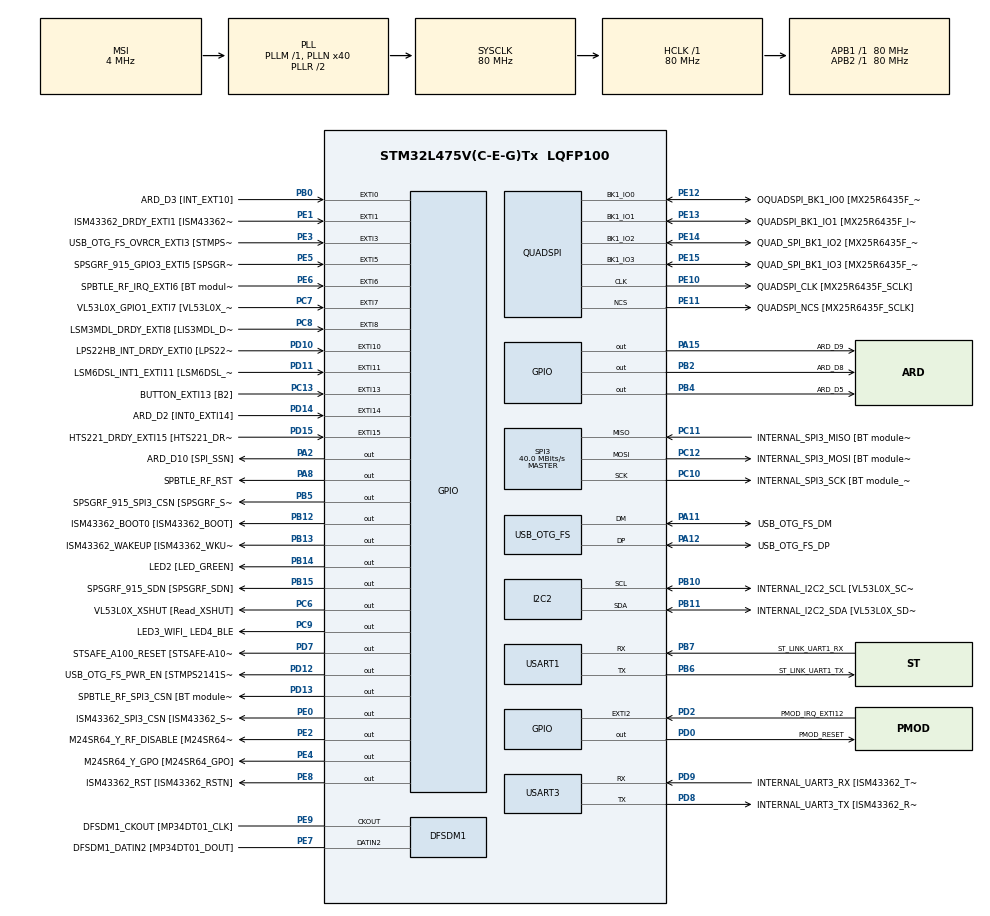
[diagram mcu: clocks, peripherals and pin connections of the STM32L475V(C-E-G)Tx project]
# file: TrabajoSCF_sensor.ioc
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FREERTOS.Queues01=print_queue,128,uintptr_t,0,Dynamic,NULL,NULL;receive_queue,3,char,0,Dynamic,NULL,NULL;receive_wifi_queue,31,char,0,Dynamic,NULL,NULL
FREERTOS.Tasks01=defaultTask,24,256,StartDefaultTask,Default,NULL,Dynamic,NULL,NULL;wifiStart,24,1024,wifiStartTask,Default,NULL,Dynamic,NULL,NULL;acel_task,24,256,acel_task_function,Default,NULL,Dynamic,NULL,NULL;print_task,24,128,print_task_func,Default,NULL,Dynamic,NULL,NULL;RTC_set,32,256,RTC_set_func,Default,NULL,Dynamic,NULL,NULL;wifi_set,24,128,wifi_set_func,Default,NULL,Dynamic,NULL,NULL
FREERTOS.configTOTAL_HEAP_SIZE=10000
Mcu.Family=STM32L4
Mcu.Name=STM32L475V(C-E-G)Tx
Mcu.Package=LQFP100
NVIC.EXTI15_10_IRQn=true\:5\:0\:false\:false\:true\:true\:true\:true\:true
NVIC.EXTI1_IRQn=true\:5\:0\:false\:false\:true\:false\:true\:true\:true
NVIC.EXTI9_5_IRQn=true\:5\:0\:false\:false\:true\:true\:true\:true\:true
NVIC.PriorityGroup=NVIC_PRIORITYGROUP_4
NVIC.SPI3_IRQn=true\:5\:0\:false\:false\:false\:false\:true\:true\:true
NVIC.USART1_IRQn=true\:5\:0\:false\:false\:true\:true\:true\:true\:true
PA0.GPIO_Label=ARD_D1 [UART4_TX]
PA0.Signal=UART4_TX
PA1.GPIO_Label=ARD_D0 [UART4_RX]
PA1.Signal=UART4_RX
PA10.GPIO_Label=USB_OTG_FS_ID
PA10.Signal=USB_OTG_FS_ID
PA11.GPIO_Label=USB_OTG_FS_DM
PA11.Mode=Device_Only
PA11.Signal=USB_OTG_FS_DM
PA12.GPIO_Label=USB_OTG_FS_DP
PA12.Mode=Device_Only
PA12.Signal=USB_OTG_FS_DP
PA13\ (JTMS-SWDIO).GPIO_Label=SYS_JTMS_SWDIO
PA13\ (JTMS-SWDIO).Mode=Trace_Asynchronous_SW
PA13\ (JTMS-SWDIO).Signal=SYS_JTMS-SWDIO
PA14\ (JTCK-SWCLK).GPIO_Label=SYS_JTCK_SWCLK
PA14\ (JTCK-SWCLK).Mode=Trace_Asynchronous_SW
PA14\ (JTCK-SWCLK).Signal=SYS_JTCK-SWCLK
PA15\ (JTDI).GPIO_Label=ARD_D9
PA15\ (JTDI).Signal=GPIO_Output
PA2.GPIO_Label=ARD_D10 [SPI_SSN]
PA2.Signal=GPIO_Output
PA3.GPIO_Label=ARD_D4
PA3.Signal=S_TIM2_CH4
PA4.GPIO_Label=ARD_D7
PA4.Signal=ADCx_IN9
PA5.GPIO_Label=ARD_D13 [SPI1_SCK]
PA5.Signal=SPI1_SCK
PA6.GPIO_Label=ARD_D12 [SPI1_MISO]
PA6.Signal=SPI1_MISO
PA7.GPIO_Label=ARD_D11 [SPI1_MOSI]
PA7.Signal=SPI1_MOSI
PA8.GPIO_Label=SPBTLE_RF_RST
PA8.Signal=GPIO_Output
PA9.GPIO_Label=USB_OTG_FS_VBUS [STMPS2141STR_OUT]
PA9.Signal=USB_OTG_FS_VBUS
PB0.GPIO_Label=ARD_D3 [INT_EXT10]
PB0.Signal=GPXTI0
PB1.GPIO_Label=ARD_D6 [ADC1_IN6]
PB1.Signal=ADCx_IN16
PB10.GPIO_Label=INTERNAL_I2C2_SCL [VL53L0X_SCL]
PB10.GPIO_Pu=GPIO_PULLUP
PB10.Mode=I2C
PB10.Signal=I2C2_SCL
PB11.GPIO_Label=INTERNAL_I2C2_SDA [VL53L0X_SDA]
PB11.GPIO_Pu=GPIO_PULLUP
PB11.Mode=I2C
PB11.Signal=I2C2_SDA
PB12.GPIO_Label=ISM43362_BOOT0 [ISM43362_BOOT]
PB12.Signal=GPIO_Output
PB13.GPIO_Label=ISM43362_WAKEUP [ISM43362_WKUP]
PB13.Signal=GPIO_Output
PB14.GPIO_Label=LED2 [LED_GREEN]
PB14.Signal=GPIO_Output
PB15.GPIO_Label=SPSGRF_915_SDN [SPSGRF_SDN]
PB15.Signal=GPIO_Output
PB2.GPIO_Label=ARD_D8
PB2.Signal=GPIO_Output
PB3\ (JTDO-TRACESWO).Mode=Trace_Asynchronous_SW
PB3\ (JTDO-TRACESWO).Signal=SYS_JTDO-SWO
PB4\ (NJTRST).GPIO_Label=ARD_D5
PB4\ (NJTRST).Signal=GPIO_Output
PB5.GPIO_Label=SPSGRF_915_SPI3_CSN [SPSGRF_SPI_CS]
PB5.PinState=GPIO_PIN_SET
PB5.Signal=GPIO_Output
PB6.GPIO_Label=ST_LINK_UART1_TX
PB6.Mode=Asynchronous
PB6.Signal=USART1_TX
PB7.GPIO_Label=ST_LINK_UART1_RX
PB7.Mode=Asynchronous
PB7.Signal=USART1_RX
PB8.GPIO_Label=ARD_D15 [I2C1_SCL]
PB8.Signal=I2C1_SCL
PB9.GPIO_Label=ARD_D14 [I2C1_SDA]
PB9.Signal=I2C1_SDA
PC0.GPIO_Label=ARD_A5 [ADC]
PC0.Signal=ADCx_IN1
PC1.GPIO_Label=ARD_A4 [ADC]
PC1.Signal=ADCx_IN2
PC10.GPIO_Label=INTERNAL_SPI3_SCK [BT module_SPI_SCLK] [ISM43362_SCK]
PC10.Mode=Full_Duplex_Master
PC10.Signal=SPI3_SCK
PC11.GPIO_Label=INTERNAL_SPI3_MISO [BT module_SPI_MISO] [ISM43362_MISO]
PC11.Mode=Full_Duplex_Master
PC11.Signal=SPI3_MISO
PC12.GPIO_Label=INTERNAL_SPI3_MOSI [BT module_SPI_MOSI] [ISM43362_MOSI]
PC12.Mode=Full_Duplex_Master
PC12.Signal=SPI3_MOSI
PC13.GPIO_Label=BUTTON_EXTI13 [B2]
PC13.GPIO_ModeDefaultEXTI=GPIO_MODE_IT_FALLING
PC13.Signal=GPXTI13
PC14-OSC32_IN\ (PC14).Mode=LSE-External-Oscillator
PC14-OSC32_IN\ (PC14).Signal=RCC_OSC32_IN
PC15-OSC32_OUT\ (PC15).Mode=LSE-External-Oscillator
PC15-OSC32_OUT\ (PC15).Signal=RCC_OSC32_OUT
PC2.GPIO_Label=ARD_A3 [ADC]
PC2.Signal=ADCx_IN3
PC3.GPIO_Label=ARD_A2 [ADC]
PC3.Signal=ADCx_IN4
PC4.GPIO_Label=ARD_A1 [ADC]
PC4.Signal=ADCx_IN13
PC5.GPIO_Label=ARD_A0 [ADC]
PC5.Signal=ADCx_IN14
PC6.GPIO_Label=VL53L0X_XSHUT [Read_XSHUT]
PC6.Signal=GPIO_Output
PC7.GPIO_Label=VL53L0X_GPIO1_EXTI7 [VL53L0X_GPIO1]
PC7.Signal=GPXTI7
PC8.GPIO_Label=LSM3MDL_DRDY_EXTI8 [LIS3MDL_DRDY]
PC8.Signal=GPXTI8
PC9.GPIO_Label=LED3_WIFI_ LED4_BLE
PC9.Signal=GPIO_Output
PD0.GPIO_Label=PMOD_RESET
PD0.Signal=GPIO_Output
PD1.GPIO_Label=PMOD_SPI2_SCK
PD1.Signal=SPI2_SCK
PD10.GPIO_Label=LPS22HB_INT_DRDY_EXTI0 [LPS22HB_INT_DRDY] 
PD10.Signal=GPXTI10
PD11.GPIO_Label=LSM6DSL_INT1_EXTI11 [LSM6DSL_INT1]
PD11.Signal=GPXTI11
PD12.GPIO_Label=USB_OTG_FS_PWR_EN [STMPS2141STR_EN]
PD12.Signal=GPIO_Output
PD13.GPIO_Label=SPBTLE_RF_SPI3_CSN [BT module_SPI_CS]
PD13.PinState=GPIO_PIN_SET
PD13.Signal=GPIO_Output
PD14.GPIO_Label=ARD_D2 [INT0_EXTI14]
PD14.Signal=GPXTI14
PD15.GPIO_Label=HTS221_DRDY_EXTI15 [HTS221_DRDY]
PD15.Signal=GPXTI15
PD2.GPIO_Label=PMOD_IRQ_EXTI12
PD2.Signal=GPXTI2
PD3.GPIO_Label=PMOD_UART2_CTS
PD3.Signal=USART2_CTS
PD4.GPIO_Label=PMOD_UART2_RTS
PD4.Signal=USART2_RTS
PD5.GPIO_Label=PMOD_UART2_TX
PD5.Signal=USART2_TX
PD6.GPIO_Label=PMOD_UART2_RX
PD6.Signal=USART2_RX
PD7.GPIO_Label=STSAFE_A100_RESET [STSAFE-A100_RESET]
PD7.Signal=GPIO_Output
PD8.GPIO_Label=INTERNAL_UART3_TX [ISM43362_RX]
PD8.Mode=Asynchronous
PD8.Signal=USART3_TX
PD9.GPIO_Label=INTERNAL_UART3_RX [ISM43362_TX]
PD9.Mode=Asynchronous
PD9.Signal=USART3_RX
PE0.GPIO_Label=ISM43362_SPI3_CSN [ISM43362_SSN]
PE0.PinState=GPIO_PIN_SET
PE0.Signal=GPIO_Output
PE1.GPIO_Label=ISM43362_DRDY_EXTI1 [ISM43362_DATARDY]
PE1.Signal=GPXTI1
PE10.GPIO_Label=QUADSPI_CLK [MX25R6435F_SCLK]
PE10.Mode=Single Bank
PE10.Signal=QUADSPI_CLK
PE11.GPIO_Label=QUADSPI_NCS [MX25R6435F_SCLK]
PE11.Mode=Single Bank
PE11.Signal=QUADSPI_NCS
PE12.GPIO_Label=OQUADSPI_BK1_IO0 [MX25R6435F_IO0]
PE12.Mode=Single Bank
PE12.Signal=QUADSPI_BK1_IO0
PE13.GPIO_Label=QUADSPI_BK1_IO1 [MX25R6435F_IO1]
PE13.Mode=Single Bank
PE13.Signal=QUADSPI_BK1_IO1
PE14.GPIO_Label=QUAD_SPI_BK1_IO2 [MX25R6435F_IO2]
PE14.Mode=Single Bank
PE14.Signal=QUADSPI_BK1_IO2
PE15.GPIO_Label=QUAD_SPI_BK1_IO3 [MX25R6435F_IO3]
PE15.Mode=Single Bank
PE15.Signal=QUADSPI_BK1_IO3
PE2.GPIO_Label=M24SR64_Y_RF_DISABLE [M24SR64_RFDIS]
PE2.Signal=GPIO_Output
PE3.GPIO_Label=USB_OTG_FS_OVRCR_EXTI3 [STMPS2141STR_FAULT]
PE3.Signal=GPXTI3
PE4.GPIO_Label=M24SR64_Y_GPO [M24SR64_GPO]
PE4.Signal=GPIO_Output
PE5.GPIO_Label=SPSGRF_915_GPIO3_EXTI5 [SPSGRF_GPIO_3]
PE5.Signal=GPXTI5
PE6.GPIO_Label=SPBTLE_RF_IRQ_EXTI6 [BT module_SPI_IRQ]
PE6.Signal=GPXTI6
PE7.GPIO_Label=DFSDM1_DATIN2 [MP34DT01_DOUT]
PE7.Signal=S_DATAIN2DFSDM1
PE8.GPIO_Label=ISM43362_RST [ISM43362_RSTN]
PE8.Signal=GPIO_Output
PE9.GPIO_Label=DFSDM1_CKOUT [MP34DT01_CLK]
PE9.Signal=S_CKOUTDFSDM1
ProjectManager.HeapSize=0x200
ProjectManager.StackSize=0x400
ProjectManager.TargetToolchain=STM32CubeIDE
QUADSPI.ClockPrescaler=2
QUADSPI.FifoThreshold=4
QUADSPI.FlashSize=23
QUADSPI.SampleShifting=QSPI_SAMPLE_SHIFTING_HALFCYCLE
RCC.ADCFreq_Value=48000000
RCC.AHBFreq_Value=80000000
RCC.APB1Freq_Value=80000000
RCC.APB1TimFreq_Value=80000000
RCC.APB2Freq_Value=80000000
RCC.APB2TimFreq_Value=80000000
RCC.CortexFreq_Value=80000000
RCC.HCLKFreq_Value=80000000
RCC.HSE_VALUE=8000000
RCC.HSI_VALUE=16000000
RCC.MSI_VALUE=4000000
RCC.PLLN=40
RCC.PLLSAI1N=24
RCC.SYSCLKFreq_VALUE=80000000
RCC.SYSCLKSource=RCC_SYSCLKSOURCE_PLLCLK
RCC.USBFreq_Value=48000000
RCC.VCOOutputFreq_Value=160000000
RTC.Date=3
RTC.Hours=12
RTC.Minutes=49
RTC.Seconds=50
RTC.WeekDay=RTC_WEEKDAY_WEDNESDAY
RTC.Year=24
SH.ADCx_IN1.0=ADC1_IN1
SH.ADCx_IN13.0=ADC1_IN13
SH.ADCx_IN14.0=ADC1_IN14
SH.ADCx_IN16.0=ADC1_IN16
SH.ADCx_IN2.0=ADC1_IN2
SH.ADCx_IN3.0=ADC1_IN3
SH.ADCx_IN4.0=ADC1_IN4
SH.ADCx_IN9.0=ADC1_IN9
SH.S_CKOUTDFSDM1.0=DFSDM1_CKOUT,CKOUT
SH.S_CKOUTDFSDM1.1=DFSDM1_CKOUT,PDM_SPI_Input_from_ch12_and_Internal_Clock
SH.S_DATAIN2DFSDM1.0=DFSDM1_DATIN2,PDM_SPI_Input_from_ch12_and_Internal_Clock
SH.S_TIM2_CH4.0=TIM2_CH4
SPI3.CalculateBaudRate=40.0 MBits/s
SPI3.Direction=SPI_DIRECTION_2LINES
SPI3.Mode=SPI_MODE_MASTER
SPI3.VirtualType=VM_MASTER
USART1.VirtualMode-Asynchronous=VM_ASYNC
USART3.VirtualMode-Asynchronous=VM_ASYNC
USB_OTG_FS.VirtualMode=Device_Only
VP_FREERTOS_VS_CMSIS_V2.Mode=CMSIS_V2
VP_RTC_VS_RTC_Activate.Mode=RTC_Enabled
VP_RTC_VS_RTC_Calendar.Mode=RTC_Calendar
board=B-L475E-IOT01A2

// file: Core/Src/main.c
/* USER CODE BEGIN Header */
/**
  ******************************************************************************
  * @file           : main.c
  * @brief          : Main program body
  ******************************************************************************
  * @attention
  *
  * Copyright (c) 2023 STMicroelectronics.
  * All rights reserved.
  *
  * This software is licensed under terms that can be found in the LICENSE file
  * in the root directory of this software component.
  * If no LICENSE file comes with this software, it is provided AS-IS.
  *
  ******************************************************************************
  */
/* USER CODE END Header */
#include "main.h"
#include "cmsis_os.h"

/* USER CODE BEGIN Includes */
#include "es_wifi.h"
#include "wifi.h"
#include "stm32l4xx_hal_uart.h"
#include <stdio.h>
#include <stdlib.h>
#include "stm32l4xx_hal_uart.h"
#include "stm32l475e_iot01.h"
#include "stm32l475e_iot01_tsensor.h"
#include "stm32l475e_iot01_hsensor.h"
#include <math.h>
#include <string.h>
#include "mqtt_priv.h"
#include "stm32l475e_iot01_accelero.h"
/* USER CODE END Includes */

/* USER CODE BEGIN PTD */

//#define SSID     "pabkramar" //"plutow" //"iPhone de Fernando"
//#define PASSWORD "12345678" //"abcdefgh" //"garruchin9"
char SSID [31];
char PASSWORD [31];
//#define WIFISECURITY WIFI_ECN_OPEN
#define WIFISECURITY WIFI_ECN_WPA2_PSK

#ifdef  TERMINAL_USE
#define LOG(a) printf a
#else
#define LOG(a)
#endif
/* USER CODE END PTD */

DFSDM_Channel_HandleTypeDef hdfsdm1_channel1;

I2C_HandleTypeDef hi2c2;

QSPI_HandleTypeDef hqspi;

RTC_HandleTypeDef hrtc;

SPI_HandleTypeDef hspi3;

UART_HandleTypeDef huart1;
UART_HandleTypeDef huart3;

PCD_HandleTypeDef hpcd_USB_OTG_FS;

/* Definitions for defaultTask */
osThreadId_t defaultTaskHandle;
const osThreadAttr_t defaultTask_attributes = {
  .name = "defaultTask",
  .stack_size = 256 * 4,
  .priority = (osPriority_t) osPriorityNormal,
};
/* Definitions for wifiStart */
osThreadId_t wifiStartHandle;
const osThreadAttr_t wifiStart_attributes = {
  .name = "wifiStart",
  .stack_size = 1024 * 4,
  .priority = (osPriority_t) osPriorityNormal,
};
/* Definitions for acel_task */
osThreadId_t acel_taskHandle;
const osThreadAttr_t acel_task_attributes = {
  .name = "acel_task",
  .stack_size = 256 * 4,
  .priority = (osPriority_t) osPriorityNormal,
};
/* Definitions for print_task */
osThreadId_t print_taskHandle;
const osThreadAttr_t print_task_attributes = {
  .name = "print_task",
  .stack_size = 128 * 4,
  .priority = (osPriority_t) osPriorityNormal,
};
/* Definitions for RTC_set */
osThreadId_t RTC_setHandle;
const osThreadAttr_t RTC_set_attributes = {
  .name = "RTC_set",
  .stack_size = 256 * 4,
  .priority = (osPriority_t) osPriorityAboveNormal,
};
/* Definitions for wifi_set */
osThreadId_t wifi_setHandle;
const osThreadAttr_t wifi_set_attributes = {
  .name = "wifi_set",
  .stack_size = 128 * 4,
  .priority = (osPriority_t) osPriorityNormal,
};
/* Definitions for print_queue */
osMessageQueueId_t print_queueHandle;
const osMessageQueueAttr_t print_queue_attributes = {
  .name = "print_queue"
};
/* Definitions for receive_queue */
osMessageQueueId_t receive_queueHandle;
const osMessageQueueAttr_t receive_queue_attributes = {
  .name = "receive_queue"
};
/* Definitions for receive_wifi_queue */
osMessageQueueId_t receive_wifi_queueHandle;
const osMessageQueueAttr_t receive_wifi_queue_attributes = {
  .name = "receive_wifi_queue"
};
/* USER CODE BEGIN PV */
extern  SPI_HandleTypeDef hspi;
static  uint8_t  IP_Addr[4];
#if defined (TERMINAL_USE)
extern UART_HandleTypeDef hDiscoUart;
#endif /* TERMINAL_USE */

static  uint8_t  IP_Addr[4];

int _write(int file, char *ptr, int len){
	int DataIdx;
	for(DataIdx=0; DataIdx<len; DataIdx++)
	{
	ITM_SendChar(*ptr++);
	}
	return len;
}

int16_t pDataAcc[3];
int16_t lista_acelx[10]; //Lista para guardar los valores de las aceleraciones para luego hacerles la media.
int16_t lista_acely[10];
int16_t lista_acelz[10];

int modo_operacion = 0;

ACCELERO_StatusTypeDef iniAcc;
char str_x[14] = "";				/* cadena para la aceleraciÃ³n en el eje X */
char str_y[14] = "";				/* cadena para la aceleraciÃ³n en el eje X */
char str_z[18] = "";				/* cadena para la aceleraciÃ³n en el eje X */

int16_t acel_x = 0;
int16_t acel_y = 0;
int16_t acel_z = 0;

uint8_t acel_flag=0;

char timestamp[36] = "";			/* cadena para el timestamp */

uint8_t msg1[] = "****** Acceleration values measurement ******\n\n\r";
uint8_t msg2[] = "=====> Initialize Acceleration sensor LSM6DSL \r\n";
uint8_t msg3[] = "=====> Acceleration sensor LSM6DSL initialized \r\n ";

uint16_t subsec = 0;		/* variable para los ms */
RTC_TimeTypeDef varTime; /* estructura para recibir la hora del RTC */
RTC_DateTypeDef varDate; /* estructura para recibir la fecha */

uint8_t drdyPulsedCfg = 0;
uint8_t ctrlDrdy = 0;
uint8_t ctrlMaster = 0;

RTC_DateTypeDef GetDate; //Estructura para fijar/leer fecha
RTC_TimeTypeDef GetTime; //Estructura para fijar/leer hora

/* USER CODE END PV */

void SystemClock_Config(void);
static void MX_GPIO_Init(void);
static void MX_DFSDM1_Init(void);
static void MX_I2C2_Init(void);
static void MX_QUADSPI_Init(void);
static void MX_SPI3_Init(void);
static void MX_USART1_UART_Init(void);
static void MX_USART3_UART_Init(void);
static void MX_USB_OTG_FS_PCD_Init(void);
static void MX_RTC_Init(void);
void StartDefaultTask(void *argument);
void wifiStartTask(void *argument);
void acel_task_function(void *argument);
void print_task_func(void *argument);
void RTC_set_func(void *argument);
void wifi_set_func(void *argument);

/* USER CODE BEGIN PFP */

static uint8_t IP_Addr[4];
void LSM6DSL_AccInt_Drdy(void);							/* FunciÃ³n para la activaciÃ³n de la interrupciÃ³n Data Ready */
void  HAL_GPIO_EXTI_Callback(uint16_t GPIO_Pin);

/* USER CODE END PFP */

/* USER CODE BEGIN 0 */
uint8_t rec_data;
uint8_t cont = 0;
uint8_t config_state = 0;

#if defined (TERMINAL_USE)
#ifdef __GNUC__
/* With GCC, small printf (option LD Linker->Libraries->Small printf
   set to 'Yes') calls __io_putchar() */
#define PUTCHAR_PROTOTYPE int __io_putchar(int ch)
#else
#define PUTCHAR_PROTOTYPE int fputc(int ch, FILE *f)
#endif /* __GNUC__ */
#endif /* TERMINAL_USE */

static  int wifi_start(void);
static  int wifi_connect(void);
int wifi_get_http(void);
/* USER CODE END 0 */

int main(void)
{

  /* MCU Configuration--------------------------------------------------------*/

  /* Reset of all peripherals, Initializes the Flash interface and the Systick. */
  HAL_Init();

  /* Configure the system clock */
  SystemClock_Config();

  /* Initialize all configured peripherals */
  MX_GPIO_Init();
  MX_DFSDM1_Init();
  MX_I2C2_Init();
  MX_QUADSPI_Init();
  MX_SPI3_Init();
  MX_USART1_UART_Init();
  MX_USART3_UART_Init();
  MX_USB_OTG_FS_PCD_Init();
  MX_RTC_Init();
  /* USER CODE BEGIN 2 */
  #if defined (TERMINAL_USE)
  /* Initialize all configured peripherals */
  hDiscoUart.Instance = DISCOVERY_COM1;
  hDiscoUart.Init.BaudRate = 115200;
  hDiscoUart.Init.WordLength = UART_WORDLENGTH_8B;
  hDiscoUart.Init.StopBits = UART_STOPBITS_1;
  hDiscoUart.Init.Parity = UART_PARITY_NONE;
  hDiscoUart.Init.Mode = UART_MODE_TX_RX;
  hDiscoUart.Init.HwFlowCtl = UART_HWCONTROL_NONE;
  hDiscoUart.Init.OverSampling = UART_OVERSAMPLING_16;
  hDiscoUart.Init.OneBitSampling = UART_ONE_BIT_SAMPLE_DISABLE;
  hDiscoUart.AdvancedInit.AdvFeatureInit = UART_ADVFEATURE_NO_INIT;

  BSP_COM_Init(COM1, &hDiscoUart);

  #endif /* TERMINAL_USE */
  BSP_TSENSOR_Init(); // Inicializamos temperatura
  BSP_HSENSOR_Init(); // Inicializamos humedad
  printf("****** Sistemas Ciberfisicos ****** \n\r");

  HAL_UART_Transmit(&huart1,msg1,sizeof(msg1),1000); 			/* TransmisiÃ³n de mensajes por UART */
  HAL_UART_Transmit(&huart1,msg2,sizeof(msg2),1000);
  HAL_UART_Transmit(&huart1,msg3,sizeof(msg3),1000);

  iniAcc = BSP_ACCELERO_Init();									/* InicializaciÃ³n del acelerÃ³metro */
  LSM6DSL_AccInt_Drdy();											/* ConfiguraciÃ³n del acelerÃ³metro*/
  BSP_ACCELERO_LowPower(0);										/* Deshabilitado del modo de bajo consumo*/

  /* USER CODE END 2 */

  /* Init scheduler */
  osKernelInitialize();

  /* Create the queue(s) */
  /* creation of print_queue */
  print_queueHandle = osMessageQueueNew (128, sizeof(uintptr_t), &print_queue_attributes);

  /* creation of receive_queue */
  receive_queueHandle = osMessageQueueNew (3, sizeof(char), &receive_queue_attributes);

  /* creation of receive_wifi_queue */
  receive_wifi_queueHandle = osMessageQueueNew (31, sizeof(char), &receive_wifi_queue_attributes);

  /* Create the thread(s) */
  /* creation of defaultTask */
  defaultTaskHandle = osThreadNew(StartDefaultTask, NULL, &defaultTask_attributes);

  /* creation of wifiStart */
  wifiStartHandle = osThreadNew(wifiStartTask, NULL, &wifiStart_attributes);

  /* creation of acel_task */
  acel_taskHandle = osThreadNew(acel_task_function, NULL, &acel_task_attributes);

  /* creation of print_task */
  print_taskHandle = osThreadNew(print_task_func, NULL, &print_task_attributes);

  /* creation of RTC_set */
  RTC_setHandle = osThreadNew(RTC_set_func, NULL, &RTC_set_attributes);

  /* creation of wifi_set */
  wifi_setHandle = osThreadNew(wifi_set_func, NULL, &wifi_set_attributes);

  /* Start scheduler */
  osKernelStart();

  /* We should never get here as control is now taken by the scheduler */
  /* Infinite loop */
  while (1)
  {

  }
}

void SystemClock_Config(void)
{
  RCC_OscInitTypeDef RCC_OscInitStruct = {0};
  RCC_ClkInitTypeDef RCC_ClkInitStruct = {0};

  /** Configure the main internal regulator output voltage
  */
  if (HAL_PWREx_ControlVoltageScaling(PWR_REGULATOR_VOLTAGE_SCALE1) != HAL_OK)
  {
    Error_Handler();
  }

  /** Configure LSE Drive Capability
  */
  HAL_PWR_EnableBkUpAccess();
  __HAL_RCC_LSEDRIVE_CONFIG(RCC_LSEDRIVE_LOW);

  /** Initializes the RCC Oscillators according to the specified parameters
  * in the RCC_OscInitTypeDef structure.
  */
  RCC_OscInitStruct.OscillatorType = RCC_OSCILLATORTYPE_LSI|RCC_OSCILLATORTYPE_LSE
                              |RCC_OSCILLATORTYPE_MSI;
  RCC_OscInitStruct.LSEState = RCC_LSE_ON;
  RCC_OscInitStruct.LSIState = RCC_LSI_ON;
  RCC_OscInitStruct.MSIState = RCC_MSI_ON;
  RCC_OscInitStruct.MSICalibrationValue = 0;
  RCC_OscInitStruct.MSIClockRange = RCC_MSIRANGE_6;
  RCC_OscInitStruct.PLL.PLLState = RCC_PLL_ON;
  RCC_OscInitStruct.PLL.PLLSource = RCC_PLLSOURCE_MSI;
  RCC_OscInitStruct.PLL.PLLM = 1;
  RCC_OscInitStruct.PLL.PLLN = 40;
  RCC_OscInitStruct.PLL.PLLP = RCC_PLLP_DIV7;
  RCC_OscInitStruct.PLL.PLLQ = RCC_PLLQ_DIV2;
  RCC_OscInitStruct.PLL.PLLR = RCC_PLLR_DIV2;
  if (HAL_RCC_OscConfig(&RCC_OscInitStruct) != HAL_OK)
  {
    Error_Handler();
  }

  /** Initializes the CPU, AHB and APB buses clocks
  */
  RCC_ClkInitStruct.ClockType = RCC_CLOCKTYPE_HCLK|RCC_CLOCKTYPE_SYSCLK
                              |RCC_CLOCKTYPE_PCLK1|RCC_CLOCKTYPE_PCLK2;
  RCC_ClkInitStruct.SYSCLKSource = RCC_SYSCLKSOURCE_PLLCLK;
  RCC_ClkInitStruct.AHBCLKDivider = RCC_SYSCLK_DIV1;
  RCC_ClkInitStruct.APB1CLKDivider = RCC_HCLK_DIV1;
  RCC_ClkInitStruct.APB2CLKDivider = RCC_HCLK_DIV1;

  if (HAL_RCC_ClockConfig(&RCC_ClkInitStruct, FLASH_LATENCY_4) != HAL_OK)
  {
    Error_Handler();
  }

  /** Enable MSI Auto calibration
  */
  HAL_RCCEx_EnableMSIPLLMode();
}

static void MX_DFSDM1_Init(void)
{

  hdfsdm1_channel1.Instance = DFSDM1_Channel1;
  hdfsdm1_channel1.Init.OutputClock.Activation = ENABLE;
  hdfsdm1_channel1.Init.OutputClock.Selection = DFSDM_CHANNEL_OUTPUT_CLOCK_SYSTEM;
  hdfsdm1_channel1.Init.OutputClock.Divider = 2;
  hdfsdm1_channel1.Init.Input.Multiplexer = DFSDM_CHANNEL_EXTERNAL_INPUTS;
  hdfsdm1_channel1.Init.Input.DataPacking = DFSDM_CHANNEL_STANDARD_MODE;
  hdfsdm1_channel1.Init.Input.Pins = DFSDM_CHANNEL_FOLLOWING_CHANNEL_PINS;
  hdfsdm1_channel1.Init.SerialInterface.Type = DFSDM_CHANNEL_SPI_RISING;
  hdfsdm1_channel1.Init.SerialInterface.SpiClock = DFSDM_CHANNEL_SPI_CLOCK_INTERNAL;
  hdfsdm1_channel1.Init.Awd.FilterOrder = DFSDM_CHANNEL_FASTSINC_ORDER;
  hdfsdm1_channel1.Init.Awd.Oversampling = 1;
  hdfsdm1_channel1.Init.Offset = 0;
  hdfsdm1_channel1.Init.RightBitShift = 0x00;
  if (HAL_DFSDM_ChannelInit(&hdfsdm1_channel1) != HAL_OK)
  {
    Error_Handler();
  }

}

static void MX_I2C2_Init(void)
{

  hi2c2.Instance = I2C2;
  hi2c2.Init.Timing = 0x00000E14;
  hi2c2.Init.OwnAddress1 = 0;
  hi2c2.Init.AddressingMode = I2C_ADDRESSINGMODE_7BIT;
  hi2c2.Init.DualAddressMode = I2C_DUALADDRESS_DISABLE;
  hi2c2.Init.OwnAddress2 = 0;
  hi2c2.Init.OwnAddress2Masks = I2C_OA2_NOMASK;
  hi2c2.Init.GeneralCallMode = I2C_GENERALCALL_DISABLE;
  hi2c2.Init.NoStretchMode = I2C_NOSTRETCH_DISABLE;
  if (HAL_I2C_Init(&hi2c2) != HAL_OK)
  {
    Error_Handler();
  }

  /** Configure Analogue filter
  */
  if (HAL_I2CEx_ConfigAnalogFilter(&hi2c2, I2C_ANALOGFILTER_ENABLE) != HAL_OK)
  {
    Error_Handler();
  }

  /** Configure Digital filter
  */
  if (HAL_I2CEx_ConfigDigitalFilter(&hi2c2, 0) != HAL_OK)
  {
    Error_Handler();
  }

}

static void MX_QUADSPI_Init(void)
{

  /* QUADSPI parameter configuration*/
  hqspi.Instance = QUADSPI;
  hqspi.Init.ClockPrescaler = 2;
  hqspi.Init.FifoThreshold = 4;
  hqspi.Init.SampleShifting = QSPI_SAMPLE_SHIFTING_HALFCYCLE;
  hqspi.Init.FlashSize = 23;
  hqspi.Init.ChipSelectHighTime = QSPI_CS_HIGH_TIME_1_CYCLE;
  hqspi.Init.ClockMode = QSPI_CLOCK_MODE_0;
  if (HAL_QSPI_Init(&hqspi) != HAL_OK)
  {
    Error_Handler();
  }

}

static void MX_RTC_Init(void)
{

  RTC_TimeTypeDef sTime = {0};
  RTC_DateTypeDef sDate = {0};

  /** Initialize RTC Only
  */
  hrtc.Instance = RTC;
  hrtc.Init.HourFormat = RTC_HOURFORMAT_24;
  hrtc.Init.AsynchPrediv = 127;
  hrtc.Init.SynchPrediv = 255;
  hrtc.Init.OutPut = RTC_OUTPUT_DISABLE;
  hrtc.Init.OutPutRemap = RTC_OUTPUT_REMAP_NONE;
  hrtc.Init.OutPutPolarity = RTC_OUTPUT_POLARITY_HIGH;
  hrtc.Init.OutPutType = RTC_OUTPUT_TYPE_OPENDRAIN;
  if (HAL_RTC_Init(&hrtc) != HAL_OK)
  {
    Error_Handler();
  }

  /** Initialize RTC and set the Time and Date
  */
  sTime.Hours = 0x12;
  sTime.Minutes = 0x49;
  sTime.Seconds = 0x50;
  sTime.DayLightSaving = RTC_DAYLIGHTSAVING_NONE;
  sTime.StoreOperation = RTC_STOREOPERATION_RESET;
  if (HAL_RTC_SetTime(&hrtc, &sTime, RTC_FORMAT_BCD) != HAL_OK)
  {
    Error_Handler();
  }
  sDate.WeekDay = RTC_WEEKDAY_WEDNESDAY;
  sDate.Month = RTC_MONTH_JANUARY;
  sDate.Date = 0x3;
  sDate.Year = 0x24;

  if (HAL_RTC_SetDate(&hrtc, &sDate, RTC_FORMAT_BCD) != HAL_OK)
  {
    Error_Handler();
  }

}

static void MX_SPI3_Init(void)
{

  /* SPI3 parameter configuration*/
  hspi3.Instance = SPI3;
  hspi3.Init.Mode = SPI_MODE_MASTER;
  hspi3.Init.Direction = SPI_DIRECTION_2LINES;
  hspi3.Init.DataSize = SPI_DATASIZE_4BIT;
  hspi3.Init.CLKPolarity = SPI_POLARITY_LOW;
  hspi3.Init.CLKPhase = SPI_PHASE_1EDGE;
  hspi3.Init.NSS = SPI_NSS_SOFT;
  hspi3.Init.BaudRatePrescaler = SPI_BAUDRATEPRESCALER_2;
  hspi3.Init.FirstBit = SPI_FIRSTBIT_MSB;
  hspi3.Init.TIMode = SPI_TIMODE_DISABLE;
  hspi3.Init.CRCCalculation = SPI_CRCCALCULATION_DISABLE;
  hspi3.Init.CRCPolynomial = 7;
  hspi3.Init.CRCLength = SPI_CRC_LENGTH_DATASIZE;
  hspi3.Init.NSSPMode = SPI_NSS_PULSE_ENABLE;
  if (HAL_SPI_Init(&hspi3) != HAL_OK)
  {
    Error_Handler();
  }

}

static void MX_USART1_UART_Init(void)
{

  huart1.Instance = USART1;
  huart1.Init.BaudRate = 115200;
  huart1.Init.WordLength = UART_WORDLENGTH_8B;
  huart1.Init.StopBits = UART_STOPBITS_1;
  huart1.Init.Parity = UART_PARITY_NONE;
  huart1.Init.Mode = UART_MODE_TX_RX;
  huart1.Init.HwFlowCtl = UART_HWCONTROL_NONE;
  huart1.Init.OverSampling = UART_OVERSAMPLING_16;
  huart1.Init.OneBitSampling = UART_ONE_BIT_SAMPLE_DISABLE;
  huart1.AdvancedInit.AdvFeatureInit = UART_ADVFEATURE_NO_INIT;
  if (HAL_UART_Init(&huart1) != HAL_OK)
  {
    Error_Handler();
  }

}

static void MX_USART3_UART_Init(void)
{

  huart3.Instance = USART3;
  huart3.Init.BaudRate = 115200;
  huart3.Init.WordLength = UART_WORDLENGTH_8B;
  huart3.Init.StopBits = UART_STOPBITS_1;
  huart3.Init.Parity = UART_PARITY_NONE;
  huart3.Init.Mode = UART_MODE_TX_RX;
  huart3.Init.HwFlowCtl = UART_HWCONTROL_NONE;
  huart3.Init.OverSampling = UART_OVERSAMPLING_16;
  huart3.Init.OneBitSampling = UART_ONE_BIT_SAMPLE_DISABLE;
  huart3.AdvancedInit.AdvFeatureInit = UART_ADVFEATURE_NO_INIT;
  if (HAL_UART_Init(&huart3) != HAL_OK)
  {
    Error_Handler();
  }

}

static void MX_USB_OTG_FS_PCD_Init(void)
{

  hpcd_USB_OTG_FS.Instance = USB_OTG_FS;
  hpcd_USB_OTG_FS.Init.dev_endpoints = 6;
  hpcd_USB_OTG_FS.Init.speed = PCD_SPEED_FULL;
  hpcd_USB_OTG_FS.Init.phy_itface = PCD_PHY_EMBEDDED;
  hpcd_USB_OTG_FS.Init.Sof_enable = DISABLE;
  hpcd_USB_OTG_FS.Init.low_power_enable = DISABLE;
  hpcd_USB_OTG_FS.Init.lpm_enable = DISABLE;
  hpcd_USB_OTG_FS.Init.battery_charging_enable = DISABLE;
  hpcd_USB_OTG_FS.Init.use_dedicated_ep1 = DISABLE;
  hpcd_USB_OTG_FS.Init.vbus_sensing_enable = DISABLE;
  if (HAL_PCD_Init(&hpcd_USB_OTG_FS) != HAL_OK)
  {
    Error_Handler();
  }

}

static void MX_GPIO_Init(void)
{
  GPIO_InitTypeDef GPIO_InitStruct = {0};

  /* GPIO Ports Clock Enable */
  __HAL_RCC_GPIOE_CLK_ENABLE();
  __HAL_RCC_GPIOC_CLK_ENABLE();
  __HAL_RCC_GPIOA_CLK_ENABLE();
  __HAL_RCC_GPIOB_CLK_ENABLE();
  __HAL_RCC_GPIOD_CLK_ENABLE();

  /*Configure GPIO pin Output Level */
  HAL_GPIO_WritePin(GPIOE, M24SR64_Y_RF_DISABLE_Pin|M24SR64_Y_GPO_Pin|ISM43362_RST_Pin, GPIO_PIN_RESET);

  /*Configure GPIO pin Output Level */
  HAL_GPIO_WritePin(GPIOA, ARD_D10_Pin|SPBTLE_RF_RST_Pin|ARD_D9_Pin, GPIO_PIN_RESET);

  /*Configure GPIO pin Output Level */
  HAL_GPIO_WritePin(GPIOB, ARD_D8_Pin|ISM43362_BOOT0_Pin|ISM43362_WAKEUP_Pin|LED2_Pin
                          |SPSGRF_915_SDN_Pin|ARD_D5_Pin, GPIO_PIN_RESET);

  /*Configure GPIO pin Output Level */
  HAL_GPIO_WritePin(GPIOD, USB_OTG_FS_PWR_EN_Pin|PMOD_RESET_Pin|STSAFE_A100_RESET_Pin, GPIO_PIN_RESET);

  /*Configure GPIO pin Output Level */
  HAL_GPIO_WritePin(SPBTLE_RF_SPI3_CSN_GPIO_Port, SPBTLE_RF_SPI3_CSN_Pin, GPIO_PIN_SET);

  /*Configure GPIO pin Output Level */
  HAL_GPIO_WritePin(GPIOC, VL53L0X_XSHUT_Pin|LED3_WIFI__LED4_BLE_Pin, GPIO_PIN_RESET);

  /*Configure GPIO pin Output Level */
  HAL_GPIO_WritePin(SPSGRF_915_SPI3_CSN_GPIO_Port, SPSGRF_915_SPI3_CSN_Pin, GPIO_PIN_SET);

  /*Configure GPIO pin Output Level */
  HAL_GPIO_WritePin(ISM43362_SPI3_CSN_GPIO_Port, ISM43362_SPI3_CSN_Pin, GPIO_PIN_SET);

  /*Configure GPIO pins : M24SR64_Y_RF_DISABLE_Pin M24SR64_Y_GPO_Pin ISM43362_RST_Pin ISM43362_SPI3_CSN_Pin */
  GPIO_InitStruct.Pin = M24SR64_Y_RF_DISABLE_Pin|M24SR64_Y_GPO_Pin|ISM43362_RST_Pin|ISM43362_SPI3_CSN_Pin;
  GPIO_InitStruct.Mode = GPIO_MODE_OUTPUT_PP;
  GPIO_InitStruct.Pull = GPIO_NOPULL;
  GPIO_InitStruct.Speed = GPIO_SPEED_FREQ_LOW;
  HAL_GPIO_Init(GPIOE, &GPIO_InitStruct);

  /*Configure GPIO pins : USB_OTG_FS_OVRCR_EXTI3_Pin SPSGRF_915_GPIO3_EXTI5_Pin SPBTLE_RF_IRQ_EXTI6_Pin ISM43362_DRDY_EXTI1_Pin */
  GPIO_InitStruct.Pin = USB_OTG_FS_OVRCR_EXTI3_Pin|SPSGRF_915_GPIO3_EXTI5_Pin|SPBTLE_RF_IRQ_EXTI6_Pin|ISM43362_DRDY_EXTI1_Pin;
  GPIO_InitStruct.Mode = GPIO_MODE_IT_RISING;
  GPIO_InitStruct.Pull = GPIO_NOPULL;
  HAL_GPIO_Init(GPIOE, &GPIO_InitStruct);

  /*Configure GPIO pin : BUTTON_EXTI13_Pin */
  GPIO_InitStruct.Pin = BUTTON_EXTI13_Pin;
  GPIO_InitStruct.Mode = GPIO_MODE_IT_FALLING;
  GPIO_InitStruct.Pull = GPIO_NOPULL;
  HAL_GPIO_Init(BUTTON_EXTI13_GPIO_Port, &GPIO_InitStruct);

  /*Configure GPIO pins : ARD_A5_Pin ARD_A4_Pin ARD_A3_Pin ARD_A2_Pin
                           ARD_A1_Pin ARD_A0_Pin */
  GPIO_InitStruct.Pin = ARD_A5_Pin|ARD_A4_Pin|ARD_A3_Pin|ARD_A2_Pin
                          |ARD_A1_Pin|ARD_A0_Pin;
  GPIO_InitStruct.Mode = GPIO_MODE_ANALOG_ADC_CONTROL;
  GPIO_InitStruct.Pull = GPIO_NOPULL;
  HAL_GPIO_Init(GPIOC, &GPIO_InitStruct);

  /*Configure GPIO pins : ARD_D1_Pin ARD_D0_Pin */
  GPIO_InitStruct.Pin = ARD_D1_Pin|ARD_D0_Pin;
  GPIO_InitStruct.Mode = GPIO_MODE_AF_PP;
  GPIO_InitStruct.Pull = GPIO_NOPULL;
  GPIO_InitStruct.Speed = GPIO_SPEED_FREQ_VERY_HIGH;
  GPIO_InitStruct.Alternate = GPIO_AF8_UART4;
  HAL_GPIO_Init(GPIOA, &GPIO_InitStruct);

  /*Configure GPIO pins : ARD_D10_Pin SPBTLE_RF_RST_Pin ARD_D9_Pin */
  GPIO_InitStruct.Pin = ARD_D10_Pin|SPBTLE_RF_RST_Pin|ARD_D9_Pin;
  GPIO_InitStruct.Mode = GPIO_MODE_OUTPUT_PP;
  GPIO_InitStruct.Pull = GPIO_NOPULL;
  GPIO_InitStruct.Speed = GPIO_SPEED_FREQ_LOW;
  HAL_GPIO_Init(GPIOA, &GPIO_InitStruct);

  /*Configure GPIO pin : ARD_D4_Pin */
  GPIO_InitStruct.Pin = ARD_D4_Pin;
  GPIO_InitStruct.Mode = GPIO_MODE_AF_PP;
  GPIO_InitStruct.Pull = GPIO_NOPULL;
  GPIO_InitStruct.Speed = GPIO_SPEED_FREQ_LOW;
  GPIO_InitStruct.Alternate = GPIO_AF1_TIM2;
  HAL_GPIO_Init(ARD_D4_GPIO_Port, &GPIO_InitStruct);

  /*Configure GPIO pin : ARD_D7_Pin */
  GPIO_InitStruct.Pin = ARD_D7_Pin;
  GPIO_InitStruct.Mode = GPIO_MODE_ANALOG_ADC_CONTROL;
  GPIO_InitStruct.Pull = GPIO_NOPULL;
  HAL_GPIO_Init(ARD_D7_GPIO_Port, &GPIO_InitStruct);

  /*Configure GPIO pins : ARD_D13_Pin ARD_D12_Pin ARD_D11_Pin */
  GPIO_InitStruct.Pin = ARD_D13_Pin|ARD_D12_Pin|ARD_D11_Pin;
  GPIO_InitStruct.Mode = GPIO_MODE_AF_PP;
  GPIO_InitStruct.Pull = GPIO_NOPULL;
  GPIO_InitStruct.Speed = GPIO_SPEED_FREQ_VERY_HIGH;
  GPIO_InitStruct.Alternate = GPIO_AF5_SPI1;
  HAL_GPIO_Init(GPIOA, &GPIO_InitStruct);

  /*Configure GPIO pin : ARD_D3_Pin */
  GPIO_InitStruct.Pin = ARD_D3_Pin;
  GPIO_InitStruct.Mode = GPIO_MODE_IT_RISING;
  GPIO_InitStruct.Pull = GPIO_NOPULL;
  HAL_GPIO_Init(ARD_D3_GPIO_Port, &GPIO_InitStruct);

  /*Configure GPIO pin : ARD_D6_Pin */
  GPIO_InitStruct.Pin = ARD_D6_Pin;
  GPIO_InitStruct.Mode = GPIO_MODE_ANALOG_ADC_CONTROL;
  GPIO_InitStruct.Pull = GPIO_NOPULL;
  HAL_GPIO_Init(ARD_D6_GPIO_Port, &GPIO_InitStruct);

  /*Configure GPIO pins : ARD_D8_Pin ISM43362_BOOT0_Pin ISM43362_WAKEUP_Pin LED2_Pin
                           SPSGRF_915_SDN_Pin ARD_D5_Pin SPSGRF_915_SPI3_CSN_Pin */
  GPIO_InitStruct.Pin = ARD_D8_Pin|ISM43362_BOOT0_Pin|ISM43362_WAKEUP_Pin|LED2_Pin
                          |SPSGRF_915_SDN_Pin|ARD_D5_Pin|SPSGRF_915_SPI3_CSN_Pin;
  GPIO_InitStruct.Mode = GPIO_MODE_OUTPUT_PP;
  GPIO_InitStruct.Pull = GPIO_NOPULL;
  GPIO_InitStruct.Speed = GPIO_SPEED_FREQ_LOW;
  HAL_GPIO_Init(GPIOB, &GPIO_InitStruct);

  /*Configure GPIO pins : LPS22HB_INT_DRDY_EXTI0_Pin LSM6DSL_INT1_EXTI11_Pin ARD_D2_Pin HTS221_DRDY_EXTI15_Pin
                           PMOD_IRQ_EXTI12_Pin */
  GPIO_InitStruct.Pin = LPS22HB_INT_DRDY_EXTI0_Pin|LSM6DSL_INT1_EXTI11_Pin|ARD_D2_Pin|HTS221_DRDY_EXTI15_Pin
                          |PMOD_IRQ_EXTI12_Pin;
  GPIO_InitStruct.Mode = GPIO_MODE_IT_RISING;
  GPIO_InitStruct.Pull = GPIO_NOPULL;
  HAL_GPIO_Init(GPIOD, &GPIO_InitStruct);

  /*Configure GPIO pins : USB_OTG_FS_PWR_EN_Pin SPBTLE_RF_SPI3_CSN_Pin PMOD_RESET_Pin STSAFE_A100_RESET_Pin */
  GPIO_InitStruct.Pin = USB_OTG_FS_PWR_EN_Pin|SPBTLE_RF_SPI3_CSN_Pin|PMOD_RESET_Pin|STSAFE_A100_RESET_Pin;
  GPIO_InitStruct.Mode = GPIO_MODE_OUTPUT_PP;
  GPIO_InitStruct.Pull = GPIO_NOPULL;
  GPIO_InitStruct.Speed = GPIO_SPEED_FREQ_LOW;
  HAL_GPIO_Init(GPIOD, &GPIO_InitStruct);

  /*Configure GPIO pins : VL53L0X_XSHUT_Pin LED3_WIFI__LED4_BLE_Pin */
  GPIO_InitStruct.Pin = VL53L0X_XSHUT_Pin|LED3_WIFI__LED4_BLE_Pin;
  GPIO_InitStruct.Mode = GPIO_MODE_OUTPUT_PP;
  GPIO_InitStruct.Pull = GPIO_NOPULL;
  GPIO_InitStruct.Speed = GPIO_SPEED_FREQ_LOW;
  HAL_GPIO_Init(GPIOC, &GPIO_InitStruct);

  /*Configure GPIO pins : VL53L0X_GPIO1_EXTI7_Pin LSM3MDL_DRDY_EXTI8_Pin */
  GPIO_InitStruct.Pin = VL53L0X_GPIO1_EXTI7_Pin|LSM3MDL_DRDY_EXTI8_Pin;
  GPIO_InitStruct.Mode = GPIO_MODE_IT_RISING;
  GPIO_InitStruct.Pull = GPIO_NOPULL;
  HAL_GPIO_Init(GPIOC, &GPIO_InitStruct);

  /*Configure GPIO pin : PMOD_SPI2_SCK_Pin */
  GPIO_InitStruct.Pin = PMOD_SPI2_SCK_Pin;
  GPIO_InitStruct.Mode = GPIO_MODE_AF_PP;
  GPIO_InitStruct.Pull = GPIO_NOPULL;
  GPIO_InitStruct.Speed = GPIO_SPEED_FREQ_VERY_HIGH;
  GPIO_InitStruct.Alternate = GPIO_AF5_SPI2;
  HAL_GPIO_Init(PMOD_SPI2_SCK_GPIO_Port, &GPIO_InitStruct);

  /*Configure GPIO pins : PMOD_UART2_CTS_Pin PMOD_UART2_RTS_Pin PMOD_UART2_TX_Pin PMOD_UART2_RX_Pin */
  GPIO_InitStruct.Pin = PMOD_UART2_CTS_Pin|PMOD_UART2_RTS_Pin|PMOD_UART2_TX_Pin|PMOD_UART2_RX_Pin;
  GPIO_InitStruct.Mode = GPIO_MODE_AF_PP;
  GPIO_InitStruct.Pull = GPIO_NOPULL;
  GPIO_InitStruct.Speed = GPIO_SPEED_FREQ_VERY_HIGH;
  GPIO_InitStruct.Alternate = GPIO_AF7_USART2;
  HAL_GPIO_Init(GPIOD, &GPIO_InitStruct);

  /*Configure GPIO pins : ARD_D15_Pin ARD_D14_Pin */
  GPIO_InitStruct.Pin = ARD_D15_Pin|ARD_D14_Pin;
  GPIO_InitStruct.Mode = GPIO_MODE_AF_OD;
  GPIO_InitStruct.Pull = GPIO_NOPULL;
  GPIO_InitStruct.Speed = GPIO_SPEED_FREQ_VERY_HIGH;
  GPIO_InitStruct.Alternate = GPIO_AF4_I2C1;
  HAL_GPIO_Init(GPIOB, &GPIO_InitStruct);

  /* EXTI interrupt init*/
  HAL_NVIC_SetPriority(EXTI1_IRQn, 5, 0);
  HAL_NVIC_EnableIRQ(EXTI1_IRQn);

  HAL_NVIC_SetPriority(EXTI9_5_IRQn, 5, 0);
  HAL_NVIC_EnableIRQ(EXTI9_5_IRQn);

  HAL_NVIC_SetPriority(EXTI15_10_IRQn, 5, 0);
  HAL_NVIC_EnableIRQ(EXTI15_10_IRQn);

}

/* USER CODE BEGIN 4 */
void LSM6DSL_AccInt_Drdy()						/* InicializaciÃ³n del acelerÃ³metro */
	{

		uint8_t ctrl = 0x00;
		uint8_t tmp;
		/* Read DRDY_PULSE_CFG_G value  (LSM6DSL_ACC_GYRO_I2C_ADDRESS_LOW, LSM6DSL_ACC_GYRO_CTRL1_XL);*/
		drdyPulsedCfg = SENSOR_IO_Read(LSM6DSL_ACC_GYRO_I2C_ADDRESS_LOW, LSM6DSL_ACC_GYRO_DRDY_PULSE_CFG_G);     /*Buscar en archivo lsm6dsl.h*/

		/* Set Drdy interruption to INT1  */
		drdyPulsedCfg |= 0b10000000;

		/* write back control register */
		SENSOR_IO_Write(LSM6DSL_ACC_GYRO_I2C_ADDRESS_LOW, LSM6DSL_ACC_GYRO_DRDY_PULSE_CFG_G, drdyPulsedCfg);

		/* Read INT1_CTRL value */
		ctrlDrdy = SENSOR_IO_Read(LSM6DSL_ACC_GYRO_I2C_ADDRESS_LOW, LSM6DSL_ACC_GYRO_INT1_CTRL);

		/* Set Drdy interruption to INT1  */
	    ctrlDrdy |= 0b00000011;

		/* write back control register */
		SENSOR_IO_Write(LSM6DSL_ACC_GYRO_I2C_ADDRESS_LOW, LSM6DSL_ACC_GYRO_INT1_CTRL, ctrlDrdy);

		/* Read MASTER_CONFIG value */
		ctrlMaster = SENSOR_IO_Read(LSM6DSL_ACC_GYRO_I2C_ADDRESS_LOW, LSM6DSL_ACC_GYRO_MASTER_CONFIG);

		ctrlMaster |= 0b00000011;

		/* write back control register */
		SENSOR_IO_Write(LSM6DSL_ACC_GYRO_I2C_ADDRESS_LOW, LSM6DSL_ACC_GYRO_MASTER_CONFIG, ctrlMaster);
	}

static int wifi_start(void)
{
  printf("Wifi Start Function. \n\r");
  uint8_t  MAC_Addr[6];

 /*Initialize and use WIFI module */
  if(WIFI_Init() ==  WIFI_STATUS_OK)
  {
    printf("ES-WIFI Initialized.\n\r");
    if(WIFI_GetMAC_Address(MAC_Addr) == WIFI_STATUS_OK)
    {
      printf("> eS-WiFi module MAC Address : %02X:%02X:%02X:%02X:%02X:%02X\n\r",
               MAC_Addr[0],
               MAC_Addr[1],
               MAC_Addr[2],
               MAC_Addr[3],
               MAC_Addr[4],
               MAC_Addr[5]);
    }
    else
    {
      printf("> ERROR : CANNOT get MAC address.\n\r");
      return -1;
    }
  }
  else
  {
    return -1;
  }
  return 0;
}

int wifi_connect(void)
{
    uint8_t MAX_tries = 3;
    uint8_t return_value=-1;
    uint8_t try=1;
	while (try<=MAX_tries || return_value!=0){
	  printf("Wifi connect function.. try %d/%d\n\r", try,MAX_tries);
	  wifi_start();
	  printf("Connecting to %s , %s.\n\r",SSID,PASSWORD);
	  if( WIFI_Connect(SSID, PASSWORD, WIFISECURITY) == WIFI_STATUS_OK)
	  {
		if(WIFI_GetIP_Address(IP_Addr) == WIFI_STATUS_OK)
		{
		  printf("> es-wifi module connected: got IP Address : %d.%d.%d.%d.\n\r",
				   IP_Addr[0],
				   IP_Addr[1],
				   IP_Addr[2],
				   IP_Addr[3]);
		  return_value=0; // CORRECTO
		  try=MAX_tries+1;
		  //osThreadFlagsSet(wifiStartHandle, 0x0001U);

		  // Activa la tarea de aceleracion
		  osThreadFlagsSet(acel_taskHandle, 0x000002U);
		}
		else
		{
		  printf("ERROR : es-wifi module CANNOT get IP address\n\r");
		  return_value= -1;
		}
	  }
	  else
	  {
		  printf("ERROR : es-wifi module NOT connected\n\r");
		  return_value= -1;
	  }
	  try=try+1;
	}
  return return_value;
}

/**
  * @brief  EXTI line detection callback.
  * @param  GPIO_Pin: Specifies the port pin connected to corresponding EXTI line.
  * @retval None
  */
void HAL_GPIO_EXTI_Callback(uint16_t GPIO_Pin)
{
  switch (GPIO_Pin)
  {
    case (GPIO_PIN_1):
    {
      //printf("GPIO_Pin.\n\r");
      SPI_WIFI_ISR();
      break;
    }
    case (GPIO_PIN_11):
      osThreadFlagsSet(acel_taskHandle, 0x000001U);
      break;
    default:
    {
      break;
    }
  }
}

void HAL_UART_RxCpltCallback(UART_HandleTypeDef *huart)
{
	char recibido = (char)rec_data;

	if (config_state == 0) {
		osStatus_t estado;
		if (huart == &huart1)
		{
			printf("Recibido un caracter: %c\r\n", recibido);
			cont++;
			if (cont > 3){
				osThreadFlagsSet(RTC_setHandle, 0x0002U);
				cont = 0;
			}else{
				estado = osMessageQueuePut(receive_queueHandle,&recibido, 0, 0);
				if (estado == osOK){
					printf("Caracter anadido a la cola de recepcion\r\n");
					if (recibido == '\n' || recibido == '\r'){
						osThreadFlagsSet(RTC_setHandle, 0x0001U);
						cont = 0;
					}
				}else if (estado == osErrorTimeout){
					osThreadFlagsSet(RTC_setHandle, 0x0002U);
				}else if (estado == osErrorParameter){
					printf("OsErrorParameter\r\n");
				}
				HAL_UART_Receive_IT(&huart1, &rec_data, sizeof(rec_data));
			}
		}
	}
	else if (config_state==1) {
		osStatus_t estado;
		if (huart == &huart1)
		{
			printf("Recibido un caracter: %c\r\n", recibido);
			cont++;
			if (cont > 30){
				osThreadFlagsSet(wifi_setHandle, 0x0002U);
				cont = 0;
			}else{
				estado = osMessageQueuePut(receive_wifi_queueHandle,&recibido, 0, 0);
				if (estado == osOK){
					printf("Caracter anadido a la cola de recepcion\r\n");
					if (recibido == '\n' || recibido == '\r'){
						osThreadFlagsSet(wifi_setHandle, 0x0001U);
						cont = 0;
					}
				}else if (estado == osErrorTimeout){
					osThreadFlagsSet(wifi_setHandle, 0x0002U);
				}else if (estado == osErrorParameter){
					printf("OsErrorParameter\r\n");
				}
				HAL_UART_Receive_IT(&huart1, &rec_data, sizeof(rec_data));
			}
		}

	}
}

/* USER CODE END 4 */

void StartDefaultTask(void *argument)
{
  for(;;)
  {
    osDelay(1);
  }
}

/* USER CODE BEGIN Header_wifiStartTask */
/**
* @brief Function implementing the wifiStart thread.
* @param argument: Not used
* @retval None
*/

void MQTTTask(void)
{
const uint32_t ulMaxPublishCount = 5UL;
NetworkContext_t xNetworkContext = { 0 };
MQTTContext_t xMQTTContext;
MQTTStatus_t xMQTTStatus;
TransportStatus_t xNetworkStatus;
float ftemp;
float fhum;
char payLoad[128];
char string_print [128] = "";
char * string_print_puntero = string_print;
 /* Attempt to connect to the MQTT broker. The socket is returned in
 * the network context structure. */
 xNetworkStatus = prvConnectToServer( &xNetworkContext );
 configASSERT( xNetworkStatus == PLAINTEXT_TRANSPORT_SUCCESS );
 //LOG(("Trying to create an MQTT connection\n"));
 prvCreateMQTTConnectionWithBroker( &xMQTTContext, &xNetworkContext );

 // subscribirse a un topic
 printf("Trying to subscribe to topic\n");
 modo_operacion = 0;
 prvMQTTSubscribeToTopic(&xMQTTContext,pcModOpTopic);
 for( ; ; )
 {
   /* Publicar cada 5 segundos */
   osDelay(5000);
   ftemp=BSP_TSENSOR_ReadTemp();
   fhum=BSP_HSENSOR_ReadHumidity();

   // Media de las aceleraciones
   HAL_RTC_GetTime(&hrtc, &GetTime, RTC_FORMAT_BIN);
   HAL_RTC_GetDate(&hrtc, &GetDate, RTC_FORMAT_BIN);
   if (acel_flag==1){
	   sprintf(payLoad,"{\"temperatura\":%02.2f, \"humedad\":%02.2f, \"acel_x\":%d, \"acel_y\":%d, \"acel_z\":%d}",ftemp, fhum, acel_x,acel_y,acel_z);
	   snprintf(string_print, 128, "%02u:%02u:%02u - %u/%u/20%02u\r\n - {\"temperatura\":%02.2f, \"humedad\":%02.2f} \n\r",GetTime.Hours,GetTime.Minutes,GetTime.Seconds,GetDate.Date,GetDate.Month,GetDate.Year,ftemp, fhum);
	   osMessageQueuePut(print_queueHandle, &string_print_puntero, 0, pdMS_TO_TICKS(500));
	   snprintf(string_print, 128, "%02u:%02u:%02u - %u/%u/20%02u\r\n - \"acel_x\":%d, \"acel_y\":%d, \"acel_z\":%d} \n\r",GetTime.Hours,GetTime.Minutes,GetTime.Seconds,GetDate.Date,GetDate.Month,GetDate.Year, acel_x,acel_y,acel_z);
	   osMessageQueuePut(print_queueHandle, &string_print_puntero, 0, pdMS_TO_TICKS(500));
	   acel_flag = 0;
   }
   else{
	   snprintf(string_print, 128, "%02u:%02u:%02u - %u/%u/20%02u\r\n - {\"temperatura\":%02.2f, \"humedad\":%02.2f} \n\r",GetTime.Hours,GetTime.Minutes,GetTime.Seconds,GetDate.Date,GetDate.Month,GetDate.Year,ftemp, fhum);
	   osMessageQueuePut(print_queueHandle, &string_print_puntero, 0, pdMS_TO_TICKS(500));
	   sprintf(payLoad,"{\"temperatura\":%02.2f, \"humedad\":%02.2f}",ftemp, fhum);
   }

   prvMQTTPublishToTopic(&xMQTTContext,pcBaseTopic,payLoad);

   MQTT_ProcessLoop(&xMQTTContext);
 }
}

#if defined (TERMINAL_USE)
/**
  * @brief  Retargets the C library printf function to the USART.
  * @param  None
  * @retval None
  */
PUTCHAR_PROTOTYPE
{
  /* Place your implementation of fputc here */
  /* e.g. write a character to the USART1 and Loop until the end of transmission */
  HAL_UART_Transmit(&hDiscoUart, (uint8_t *)&ch, 1, 0xFFFF);

  return ch;
}
#endif /* TERMINAL_USE */

/**
  * @brief  SPI3 line detection callback.
  * @param  None
  * @retval None
  */
void SPI3_IRQHandler(void)
{
  HAL_SPI_IRQHandler(&hspi);
}

/* USER CODE END Header_wifiStartTask */
void wifiStartTask(void *argument)
{
  /* USER CODE BEGIN wifiStartTask */
  uint8_t ret_flag;
  uint8_t control = 1;
  /* Infinite loop */
  while (control) {
	  ret_flag = osThreadFlagsWait(0x0001U, osFlagsWaitAny, osWaitForever);
	  if (ret_flag == 1U) {
		  control = 0;
		  wifi_connect();
		  for(;;)
		  {
			MQTTTask();
			osDelay(1);
		  }
	  }
  }
  /* USER CODE END wifiStartTask */
}

void acel_task_function(void *argument)
{
  /* USER CODE BEGIN acel_task_function */
    uint32_t ret_flag = 0U;
  ret_flag = osThreadFlagsWait(0x00000002U, osFlagsWaitAny,osWaitForever);
  printf("Llamada desde la tarea de wifi.\n\r");
  uint8_t contador = 0;
  int16_t temp_acel_x = 0;
  int16_t temp_acel_y = 0;
  int16_t temp_acel_z = 0;
  // Infinite loop //
  for(;;)
  {
      ret_flag = osThreadFlagsWait(0x00000001U, osFlagsWaitAny,osWaitForever);
      if (ret_flag == 1U){
        BSP_ACCELERO_AccGetXYZ(pDataAcc);                            // Toma de Aceleración /
        HAL_RTC_GetTime(&hrtc, &varTime, RTC_FORMAT_BIN);            // Toma de timestamp /
        subsec = (varTime.SecondFraction-varTime.SubSeconds)*1000/varTime.SecondFraction;      /* ms del timestamp */
        HAL_RTC_GetDate(&hrtc, &varDate, RTC_FORMAT_BCD);            // Toma de fecha /

        snprintf(str_x,14,"Eje_X = %d, ",pDataAcc[0]);                /* Formateo del mensaje de aceleración del eje X */
        snprintf(str_y,14,"Eje_Y = %d, ",pDataAcc[1]);
        snprintf(str_z,18,"Eje_Z = %d, \r\n",pDataAcc[2]);

        if (subsec <10){
            snprintf(timestamp,27,"\r\nTimestamp = %d:%d:%d.00%d - ",varTime.Hours, varTime.Minutes, varTime.Seconds,subsec);

        }
        else if (10<=subsec && subsec <100) {
            snprintf(timestamp,28,"\r\nTimestamp = %d:%d:%d.0%d - ",varTime.Hours, varTime.Minutes, varTime.Seconds,subsec);

        }
        else{
            snprintf(timestamp,28,"\r\nTimestamp = %d:%d:%d.%d - ",varTime.Hours, varTime.Minutes, varTime.Seconds,subsec);
        }

    	//HAL_UART_Transmit(&huart1,(uint8_t *)timestamp,26,1000);		/* TransmisiÃ³n de la informaciÃ³n por UART */

    	lista_acelx[contador] = pDataAcc[0];
        lista_acely[contador] = pDataAcc[1];
        lista_acelz[contador] = pDataAcc[2];
        //printf("Contador: %d. \n\r",contador);
        //printf("Modo op %d. \n\r",modo_operacion);
        if (contador >= 9){
        	acel_x=0;
        	acel_y=0;
        	acel_z=0;
        	for (int i = 0; i <= 9; i++){
        		temp_acel_x += lista_acelx[i];
        		temp_acel_y += lista_acely[i];
        		temp_acel_z += lista_acelz[i];
        	}

        	acel_x = temp_acel_x/10;
        	acel_y = temp_acel_y/10;
        	acel_z = temp_acel_z/10;

        	acel_flag=1;
        	contador=0;
        	temp_acel_x=0;
        	temp_acel_y=0;
        	temp_acel_z=0;
        	//printf("Modo operacion en main: %d. \n\r", modo_operacion);
        	if (modo_operacion == 1){
            	osDelay(pdMS_TO_TICKS(20000));//(20000));
        	}
        	else
        	{
        		osDelay(pdMS_TO_TICKS(60000));//(60000));
        	}

        }
        contador=contador+1;
      }
    osDelay(1);
  }
  /* USER CODE END acel_task_function */
}

void print_task_func(void *argument)
{
  /* USER CODE BEGIN print_task_func */
	uintptr_t rec;
	osStatus_t estado;
	const char *cadto = "Timeout agotado recepcion\r\n";

  /* Infinite loop */
  for(;;)
  {
	  estado = osMessageQueueGet(print_queueHandle, &rec, NULL, osWaitForever);
	  //printf("estado: %d\n\r",estado);
	  if (estado == osOK)
		  HAL_UART_Transmit(&huart1, (uint8_t *)rec, strlen((const char *)rec), 10);
	  else if (estado == osErrorTimeout)
		  HAL_UART_Transmit(&huart1, (uint8_t *)cadto, strlen(cadto), 10);
	  osDelay(1);
  }
  /* USER CODE END print_task_func */
}

void RTC_set_func(void *argument)
{
  /* USER CODE BEGIN RTC_set_func */
	char recibido[3] = {0};
	uint32_t flag_rec = 0x0000U;
	osStatus_t estado;
	char rec;
	const char* msg_hora_ok = "\r\nHora cambiada correctamente\r\n";
	const char* msg_fecha_ok = "Fecha cambiada correctamente\r\n";
	const char* msg_error = "\r\nERROR: Valor no válido\r\n";
	const char* msg_rtc1 = "\r\n\r\n========================\r\n" "| Configurar rtc |\r\n" "========================\r\n\r\n";
	const char* msg[6] = {
	"Hora (0-23): ", "\r\nMinuto (0-59): ","\r\nSegundo (0-59): ","\r\nDía (1-31): ","\r\nMes (1-12): ",
	"\r\nAño (0-99): "};
	uint8_t limit[6][2] = {{0,23},{0,59},{0,59},{1,31},{1,12},{0,99}};
	RTC_TimeTypeDef sTime = {0};
	RTC_DateTypeDef sDate = {0};
	uint8_t *toChange[6] = {&sTime.Hours, &sTime.Minutes, &sTime.Seconds, &sDate.Date,
	&sDate.Month, &sDate.Year};

	/* Infinite loop */
	for(;;)
	{
	  restart_loop:
	  HAL_UART_Transmit(&huart1, (uint8_t *)msg_rtc1, strlen(msg_rtc1), 10);
	  for (int i = 0; i < 6; i++){
		  HAL_UART_Transmit(&huart1, (uint8_t *)msg[i], strlen(msg[i]), 10);
		  HAL_UART_Receive_IT(&huart1, &rec_data, sizeof(rec_data));
		  flag_rec = osThreadFlagsWait(0x00000003U, osFlagsWaitAny, osWaitForever);
		  if ( flag_rec == 0x0001U){
			  printf("Salto de linea pulsado, bandera 0 recibida\r\n");
			  for (int i = 0; i<3;i++){
				  estado = osMessageQueueGet(receive_queueHandle, &rec, NULL, pdMS_TO_TICKS(500));
				  if (estado == osOK){
					  if (i == 2)
						  recibido[i] = '\0';
					  else
						  recibido[i] = rec;
				  }
			  }
			  if (((uint8_t)strtol(recibido, NULL, 10) > limit[i][1]) || ((uint8_t)strtol(recibido, NULL, 10) < limit[i][0])){
				  HAL_UART_Transmit(&huart1, (uint8_t *)msg_error, strlen(msg_error), 10);
				  osMessageQueueReset(receive_queueHandle);
				  strcpy(recibido, "\0\0\0");
				  goto restart_loop;
			  }
			  printf("recibido= %s\r\n",recibido);
			  *toChange[i] = strtol(recibido, NULL, 16);
			  osMessageQueueReset(receive_queueHandle);
			  strcpy(recibido, "\0\0\0");

		  } else if (flag_rec == 0x0002U){
			  HAL_UART_Transmit(&huart1, (uint8_t *)msg_error, strlen(msg_error), 10);
			  osMessageQueueReset(receive_queueHandle);
			  goto restart_loop;
		  }
	  }
	  HAL_RTC_SetTime(&hrtc, &sTime, RTC_FORMAT_BCD);
	  HAL_RTC_SetDate(&hrtc, &sDate, RTC_FORMAT_BCD);
	  HAL_UART_Transmit(&huart1, (uint8_t *)msg_hora_ok, strlen(msg_hora_ok), 10);
	  HAL_UART_Transmit(&huart1, (uint8_t *)msg_fecha_ok, strlen(msg_fecha_ok), 10);
	  osThreadFlagsSet(wifi_setHandle, 0x0001U);
	  config_state=1; // Para que en la funcion HAL_UART_RxCpltCallback se encargue de configurar el wifi en vez de RTC
	  osThreadSuspend(RTC_setHandle);
	}
  /* USER CODE END RTC_set_func */
}

void wifi_set_func(void *argument)
{
  /* USER CODE BEGIN wifi_set_func */
	char recibido[31] = {0};
		uint8_t ret_flag;
		uint32_t flag_rec = 0x0000U;
		uint8_t bandera_cola = 1;
		osStatus_t estado;
		char rec;
		const char* msg_ssid_ok = "\r\nSSID cambiado\r\n";
		const char* msg_clave_ok = "Clave cambiada\r\n";
		const char* msg_error = "\r\nERROR: Valor no válido\r\n";
		const char* msg_rtc1 = "\r\n\r\n========================\r\n" "| Configurar wifi |\r\n" "========================\r\n\r\n";
		const char* msg[2] = {"SSID: ", "\r\nClave: "};
		uint8_t contador_wifi = 0;
	  /* Infinite loop */
	  for(;;)
	  {
		  ret_flag = osThreadFlagsWait(0x0001U, osFlagsWaitAny, osWaitForever);
		  if (ret_flag == 1U) {
			  restart_loop:
			  HAL_UART_Transmit(&huart1, (uint8_t *)msg_rtc1, strlen(msg_rtc1), 10);
			  for (int i = 0; i < 2; i++){
				  HAL_UART_Transmit(&huart1, (uint8_t *)msg[i], strlen(msg[i]), 10);
				  HAL_UART_Receive_IT(&huart1, &rec_data, sizeof(rec_data));
				  flag_rec = osThreadFlagsWait(0x00000003U, osFlagsWaitAny, osWaitForever);
				  if ( flag_rec == 0x0001U){
					  printf("Salto de linea pulsado, bandera 0 recibida\r\n");
					  while(bandera_cola) {
						  estado = osMessageQueueGet(receive_wifi_queueHandle, &rec, NULL, pdMS_TO_TICKS(500));
						  if (estado == osOK){
							  if (rec == '\n' || rec == '\r') {
								  recibido[contador_wifi] = '\0';
								  bandera_cola = 0;
							  }
							  else
								  recibido[contador_wifi] = rec;
							  contador_wifi++;
						  }
					  }
					  contador_wifi = 0;
					  printf("recibido= %s\r\n",recibido);
					  if (i==0)
						  strcpy(SSID, recibido);
					  else if (i==1)
						  strcpy(PASSWORD, recibido);
					  osMessageQueueReset(receive_wifi_queueHandle);
					  bandera_cola = 1;
					  for (int j=0;j<=31;j++){
						  recibido[j]='\0';
					  }

				  } else if (flag_rec == 0x0002U){
					  HAL_UART_Transmit(&huart1, (uint8_t *)msg_error, strlen(msg_error), 10);
					  osMessageQueueReset(receive_queueHandle);
					  goto restart_loop;
				  }
			  }

			  printf("SSID: %s | PASSWORD: %s",SSID, PASSWORD);
			  HAL_UART_Transmit(&huart1, (uint8_t *)msg_ssid_ok, strlen(msg_ssid_ok), 10);
			  HAL_UART_Transmit(&huart1, (uint8_t *)msg_clave_ok, strlen(msg_clave_ok), 10);
			  osThreadFlagsSet(wifiStartHandle, 0x0001U);
			  bandera_cola = 0;
			  osThreadSuspend(wifi_setHandle);
		  }
	  }
  /* USER CODE END wifi_set_func */
}

void Error_Handler(void)
{
  __disable_irq();
  while (1)
  {
  }
}
